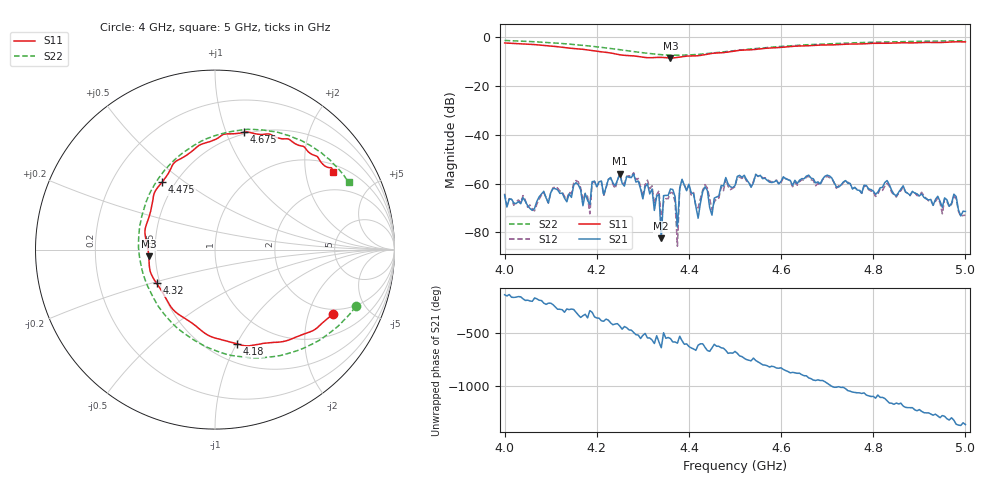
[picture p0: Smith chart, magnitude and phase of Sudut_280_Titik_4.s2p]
# Hz S RI R 50
! CMT, C1220, 16058040, 17.2.0/1
! Date: 15/08/2018 12:32:11
! Data: Format (Calibration Info)
! Freq  S11: Re/Im (F2)  S21: Re/Im (F2)  S12: Re/Im (F2)  S22: Re/Im (F2)
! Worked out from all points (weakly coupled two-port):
!   201 points, 4 GHz to 5 GHz, reference 50 ohm
!   highest |S21| = -56.01 dB at 4.25 GHz (marker M1); lowest = -82.3 dB at 4.34 GHz (marker M2)
!   lowest |S11| = -8.6 dB at 4.36 GHz (marker M3), VSWR 2.18, Z = 23 - j2.04 ohm
!   |S11| at or under -10 dB: nowhere
!   |S22| runs from -7.5 to -1.5 dB; largest |S21 - S12| = 0.00019
!   S11 on the Smith chart (normalised r, x): 4 GHz: 1.79, -2.94; 4.18 GHz: 0.68, -1.01; 4.32 GHz: 0.48, -0.21; 4.475 GHz: 0.43, +0.41; 4.675 GHz: 0.48, +1.15; 5 GHz: 1.25, +2.86
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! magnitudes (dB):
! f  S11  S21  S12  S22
! 4 GHz  -2.5  -64.7  -64.1  -1.5
! 4.065 GHz  -3.2  -70.1  -71.2  -2.0
! 4.155 GHz  -4.8  -59.6  -58.8  -3.2
! 4.17 GHz  -5.1  -69.0  -66.8  -3.5
! 4.18 GHz  -5.3  -66.8  -65.3  -3.6
! 4.25 GHz  -7.3  -56.0  -55.9  -5.2
! 4.32 GHz  -8.5  -62.2  -60.9  -6.9
! 4.335 GHz  -8.4  -64.4  -62.9  -7.2
! 4.34 GHz  -8.4  -82.3  -74.9  -7.3
! 4.345 GHz  -8.4  -64.9  -67.7  -7.4
! 4.36 GHz  -8.6  -62.2  -63.6  -7.5
! 4.375 GHz  -8.4  -77.8  -85.6  -7.5
! 4.385 GHz  -8.1  -58.2  -58.5  -7.5
! 4.42 GHz  -7.7  -74.2  -70.0  -7.1
! 4.435 GHz  -7.2  -61.3  -60.4  -6.9
! 4.45 GHz  -6.8  -72.9  -70.7  -6.6
! 4.475 GHz  -6.4  -61.0  -62.9  -6.1
! 4.5 GHz  -5.7  -60.8  -61.3  -5.6
! 4.67 GHz  -3.5  -58.0  -58.7  -3.1
! 4.675 GHz  -3.4  -59.7  -60.9  -3.0
! 4.835 GHz  -2.6  -60.5  -61.1  -2.0
! 5 GHz  -2.1  -71.4  -72.9  -1.6
